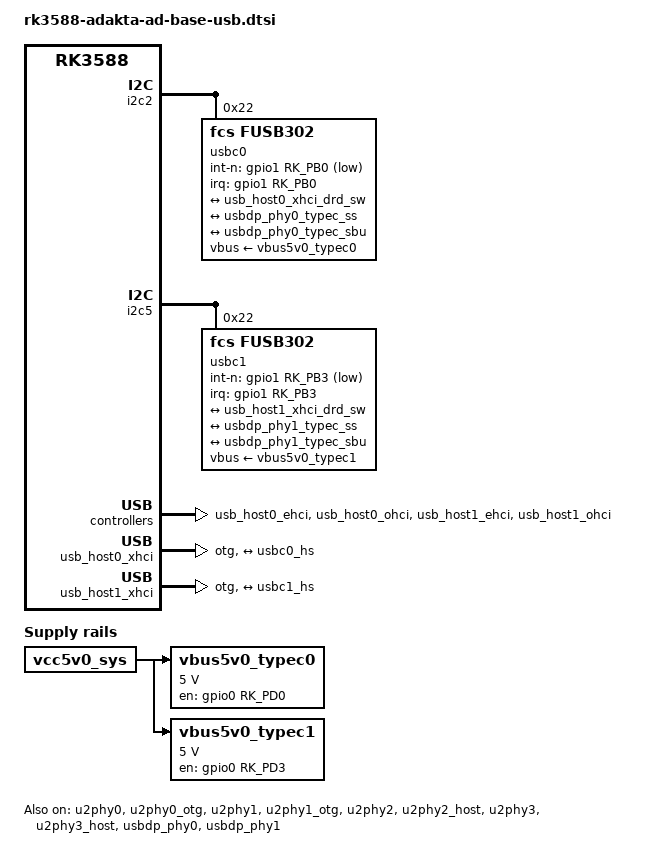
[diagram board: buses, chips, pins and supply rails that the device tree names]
// SPDX-License-Identifier: (GPL-2.0+ OR MIT)
/*
 * Copyright (c) 2024 Adakta, Ltd.
 *
 */

/ {
	vbus5v0_typec0: vbus5v0-typec0 {
		compatible = "regulator-fixed";
		regulator-name = "vbus5v0_typec0";
		regulator-min-microvolt = <5000000>;
		regulator-max-microvolt = <5000000>;
		enable-active-high;
		gpio = <&gpio0 RK_PD0 GPIO_ACTIVE_HIGH>;
		vin-supply = <&vcc5v0_sys>;
		pinctrl-names = "default";
		pinctrl-0 = <&typec0_pwr_en>;
	};

	vbus5v0_typec1: vbus5v0-typec1 {
		compatible = "regulator-fixed";
		regulator-name = "vbus5v0_typec1";
		regulator-min-microvolt = <5000000>;
		regulator-max-microvolt = <5000000>;
		enable-active-high;
		gpio = <&gpio0 RK_PD3 GPIO_ACTIVE_HIGH>;
		vin-supply = <&vcc5v0_sys>;
		pinctrl-names = "default";
		pinctrl-0 = <&typec1_pwr_en>;
	};
};

&pinctrl {
	usb-typec0 {
		usbc0_int: usbc0-int {
			rockchip,pins = <1 RK_PB0 RK_FUNC_GPIO &pcfg_pull_up>;
		};

		typec0_pwr_en: typec0-pwr-en {
			rockchip,pins = <0 RK_PD0 RK_FUNC_GPIO &pcfg_pull_none>;
		};

		typec0_sbu1: typec0-sbu1 {
			rockchip,pins = <4 RK_PA0 RK_FUNC_GPIO &pcfg_pull_none>;
		};

		typec0_sbu2: typec0-sbu2 {
			rockchip,pins = <4 RK_PB0 RK_FUNC_GPIO &pcfg_pull_none>;
		};
	};

	usb-typec1 {
		usbc1_int: usbc1-int {
			rockchip,pins = <1 RK_PB3 RK_FUNC_GPIO &pcfg_pull_up>;
		};

		typec1_pwr_en: typec1-pwr-en {
			rockchip,pins = <0 RK_PD3 RK_FUNC_GPIO &pcfg_pull_none>;
		};

		typec1_sbu1: typec1-sbu1 {
			rockchip,pins = <4 RK_PA1 RK_FUNC_GPIO &pcfg_pull_none>;
		};

		typec1_sbu2: typec1-sbu2 {
			rockchip,pins = <4 RK_PA2 RK_FUNC_GPIO &pcfg_pull_none>;
		};
	};
};

&i2c2 {
	usbc0: fusb302@22 {
		compatible = "fcs,fusb302";
		reg = <0x22>;
		interrupts-extended = <&gpio1 RK_PB0 GPIO_ACTIVE_LOW>;
		int-n-gpios = <&gpio1 RK_PB0 GPIO_ACTIVE_LOW>;
		pinctrl-names = "default";
		pinctrl-0 = <&usbc0_int>;
		vbus-supply = <&vbus5v0_typec0>;
		status = "okay";

		connector {
			compatible = "usb-c-connector";
			label = "USB-C";
			data-role = "dual";
			power-role = "sink";
			try-power-role = "sink";
			op-sink-microwatt = <1000000>;
			sink-pdos =
				<PDO_FIXED(5000, 3000, PDO_FIXED_USB_COMM)
				 PDO_VAR(5000, 20000, 5000)>;

			altmodes {
				#address-cells = <1>;
				#size-cells = <0>;

				altmode@0 {
					reg = <0>;
					svid = <0xff01>;
					vdo = <0xffffffff>;
				};
			};

			ports {
				#address-cells = <1>;
				#size-cells = <0>;

				port@0 {
					reg = <0>;
					usbc0_hs: endpoint {
						remote-endpoint = <&usb_host0_xhci_drd_sw>;
					};
				};

				port@1 {
					reg = <1>;
					usbc0_ss: endpoint {
						remote-endpoint = <&usbdp_phy0_typec_ss>;
					};
				};

				port@2 {
					reg = <2>;
					usbc0_sbu: endpoint {
						remote-endpoint = <&usbdp_phy0_typec_sbu>;
					};
				};
			};
		};
	};
};

&i2c5 {
	usbc1: fusb302@22 {
		compatible = "fcs,fusb302";
		reg = <0x22>;
		interrupts-extended = <&gpio1 RK_PB3 GPIO_ACTIVE_LOW>;
		int-n-gpios = <&gpio1 RK_PB3 GPIO_ACTIVE_LOW>;
		pinctrl-names = "default";
		pinctrl-0 = <&usbc1_int>;
		vbus-supply = <&vbus5v0_typec1>;
		status = "okay";

		connector {
			compatible = "usb-c-connector";
			label = "USB-C";
			data-role = "dual";
			power-role = "sink";
			try-power-role = "sink";
			op-sink-microwatt = <1000000>;
			sink-pdos =
				<PDO_FIXED(5000, 3000, PDO_FIXED_USB_COMM)
				 PDO_VAR(5000, 20000, 5000)>;

			altmodes {
				#address-cells = <1>;
				#size-cells = <0>;

				altmode@0 {
					reg = <0>;
					svid = <0xff01>;
					vdo = <0xffffffff>;
				};
			};

			ports {
				#address-cells = <1>;
				#size-cells = <0>;

				port@0 {
					reg = <0>;
					usbc1_hs: endpoint {
						remote-endpoint = <&usb_host1_xhci_drd_sw>;
					};
				};

				port@1 {
					reg = <1>;
					usbc1_ss: endpoint {
						remote-endpoint = <&usbdp_phy1_typec_ss>;
					};
				};

				port@2 {
					reg = <2>;
					usbc1_sbu: endpoint {
						remote-endpoint = <&usbdp_phy1_typec_sbu>;
					};
				};
			};
		};
	};
};

/* USB2 PHY for USB Type-C port */
/* CM3588 USB Controller Config Table: USB20 OTG0 */
&u2phy0 {
	status = "okay";
};

&u2phy0_otg {
	// TODO
	// rockchip,typec-vbus-det;
	status = "okay";
};

/* USB2 PHY for USB 3.0 Type-A port 1 */
/* CM3588 USB Controller Config Table: USB20 OTG1 */
&u2phy1 {
	status = "okay";
};

&u2phy1_otg {
	// TODO
	// rockchip,typec-vbus-det;
	status = "okay";
};

/* USB2 PHY for USB 2.0 Type-A */
/* CM3588 USB Controller Config Table: USB20 HOST0 */
&u2phy2 {
	status = "okay";
};

&u2phy2_host {
	status = "okay";
};

/* USB2 PHY for USB 3.0 Type-A port 2 */
/* CM3588 USB Controller Config Table: USB20 HOST1 */
&u2phy3 {
	status = "okay";
};

&u2phy3_host {
	status = "okay";
};

/* USB 2.0 Type-A */
/* PHY: <&u2phy2_host> */
&usb_host0_ehci {
	status = "okay";
};

/* USB 2.0 Type-A */
/* PHY: <&u2phy2_host> */
&usb_host0_ohci {
	status = "okay";
};

/* Lower USB 3.0 Type-A (port 2) */
/* PHY: <&u2phy3_host> */
&usb_host1_ehci {
	status = "okay";
};

/* Lower USB 3.0 Type-A (port 2) */
/* PHY: <&u2phy3_host> */
&usb_host1_ohci {
	status = "okay";
};

/* USB Type-C */
/* PHYs: <&u2phy0_otg>, <&usbdp_phy0 PHY_TYPE_USB3> */
&usb_host0_xhci {
	status = "okay";
	dr_mode = "otg";
	usb-role-switch;
	port {
		#address-cells = <1>;
		#size-cells = <0>;

		usb_host0_xhci_drd_sw: endpoint@0 {
			reg = <0>;
			remote-endpoint = <&usbc0_hs>;
		};
	};
};

/* USB3 PHY for USB Type-C port */
/* CM3588 USB Controller Config Table: USB30 OTG0 */
&usbdp_phy0 {
	status = "okay";
	orientation-switch;
	rockchip,dp-lane-mux = <0 1 2 3 >;
	svid = <0xff01>;
	pinctrl-names = "default";
	pinctrl-0 = <&typec0_sbu1 &typec0_sbu2>;
	sbu1-dc-gpios = <&gpio4 RK_PA0 GPIO_ACTIVE_HIGH>;
	sbu2-dc-gpios = <&gpio4 RK_PB0 GPIO_ACTIVE_HIGH>;

	port {
		#address-cells = <1>;
		#size-cells = <0>;

		usbdp_phy0_typec_ss: endpoint@0 {
			reg = <0>;
			remote-endpoint = <&usbc0_ss>;
		};

		usbdp_phy0_typec_sbu: endpoint@1 {
			reg = <1>;
			remote-endpoint = <&usbc0_sbu>;
		};
	};
};

/* Upper USB 3.0 Type-A (port 1) */
/* PHYs: <&u2phy1_otg>, <&usbdp_phy1 PHY_TYPE_USB3> */
&usb_host1_xhci {
	status = "okay";
	dr_mode = "otg";
	usb-role-switch;
	port {
		#address-cells = <1>;
		#size-cells = <0>;

		usb_host1_xhci_drd_sw: endpoint@0 {
			reg = <0>;
			remote-endpoint = <&usbc1_hs>;
		};
	};
};

/* USB3 PHY for USB 3.0 Type-A port 1 */
/* CM3588 USB Controller Config Table: USB30 OTG1 */
&usbdp_phy1 {
	status = "okay";
	orientation-switch;
	rockchip,dp-lane-mux = <0 1 2 3 >;
	svid = <0xff01>;
	pinctrl-names = "default";
	pinctrl-0 = <&typec1_sbu1 &typec1_sbu2>;
	sbu1-dc-gpios = <&gpio4 RK_PA1 GPIO_ACTIVE_HIGH>;
	sbu2-dc-gpios = <&gpio4 RK_PA2 GPIO_ACTIVE_HIGH>;

	port {
		#address-cells = <1>;
		#size-cells = <0>;

		usbdp_phy1_typec_ss: endpoint@0 {
			reg = <0>;
			remote-endpoint = <&usbc1_ss>;
		};

		usbdp_phy1_typec_sbu: endpoint@1 {
			reg = <1>;
			remote-endpoint = <&usbc1_sbu>;
		};
	};
};

/* Lower USB 3.0 Type-A (port 2) */
/* PHYs: <&combphy2_psu PHY_TYPE_USB3> */
&usb_host2_xhci {
	status = "disabled";
};
